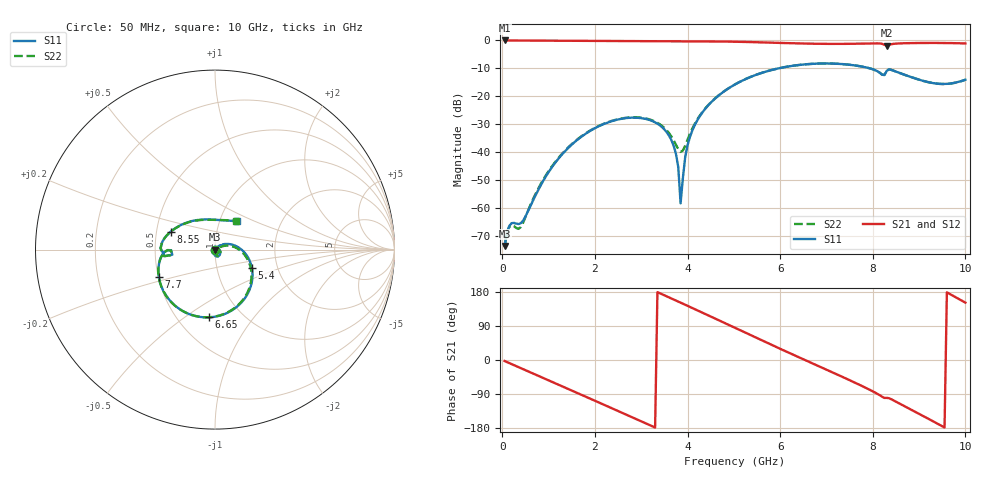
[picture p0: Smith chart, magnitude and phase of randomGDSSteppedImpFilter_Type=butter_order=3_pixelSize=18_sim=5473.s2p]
! freq	dB(S11)	phase(S11)	dB(S12)	phase(S12)
!  dB(S21)	phase(S21)	dB(S22)	phase(S22)
!S-par simulation data
#  GHz  S  DB  R 50
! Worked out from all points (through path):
!   200 points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, 50 MHz to 10 GHz, reference 50 ohm
!   highest |S21| = 0.00 dB at 50 MHz (marker M1); lowest = -1.8 dB at 8.3 GHz (marker M2)
!   group delay of S21, straight-line fit = 156 ps
!   lowest |S11| = -73.7 dB at 50 MHz (marker M3), VSWR 1.00, Z = 50 - j0.0163 ohm
!   |S11| at or under -10 dB: start of sweep to 5.963 GHz; 7.936 GHz to end of sweep
!   |S22| runs from -73.7 to -8.2 dB; largest |S21 - S12| = 0
!   S11 on the Smith chart (normalised r, x): 50 MHz: 1.00, -0.00; 5.4 GHz: 1.48, -0.31; 6.65 GHz: 0.70, -0.62; 7.7 GHz: 0.50, -0.18; 8.55 GHz: 0.59, +0.13; 10 GHz: 1.20, +0.39
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0.05  -73.65 -51.7  -0.00 -2.7  -0.00 -2.7  -73.69 -52.1
0.15  -66.46 -39.2  -0.01 -8.1  -0.01 -8.1  -66.85 -40.1
0.4  -65.45 29.1  -0.03 -21.5  -0.03 -21.5  -66.83 45.7
1  -47.14 38.4  -0.06 -53.7  -0.06 -53.7  -46.79 51.0
1.75  -33.98 -2.9  -0.11 -94.0  -0.11 -94.0  -33.83 5.2
2.65  -27.86 -52.6  -0.18 -142.7  -0.18 -142.7  -27.75 -44.5
3.4  -30.39 -93.3  -0.23 176.3  -0.23 176.3  -30.02 -78.1
3.75  -40.60 -110.5  -0.25 156.9  -0.25 156.9  -37.37 -67.4
3.8  -45.43 -111.0  -0.26 154.2  -0.26 154.2  -38.97 -54.9
3.85  -58.34 -89.3  -0.26 151.4  -0.26 151.4  -39.93 -35.6
3.95  -41.73 52.1  -0.27 145.8  -0.27 145.8  -37.67 3.7
4.15  -30.53 43.5  -0.28 134.6  -0.28 134.6  -30.03 24.6
5.05  -15.52 -6.5  -0.46 83.4  -0.46 83.4  -15.51 -10.2
5.4  -12.81 -26.2  -0.59 63.4  -0.59 63.4  -12.80 -28.8
6.65  -8.42 -95.4  -1.15 -6.3  -1.15 -6.3  -8.42 -96.4
6.7  -8.37 -98.2  -1.17 -9.0  -1.17 -9.0  -8.37 -99.1
7.7  -9.16 -153.9  -1.16 -64.7  -1.16 -64.7  -9.16 -154.1
8.3  -10.94 -172.7  -1.84 -99.9  -1.84 -99.9  -10.88 -172.6
8.35  -10.38 178.6  -1.58 -100.7  -1.58 -100.7  -10.34 178.7
8.55  -11.49 157.9  -1.09 -113.2  -1.09 -113.2  -11.48 158.4
9.3  -15.27 102.9  -0.89 -161.6  -0.89 -161.6  -15.28 104.9
10  -14.07 52.4  -1.07 151.4  -1.07 151.4  -14.11 54.5
